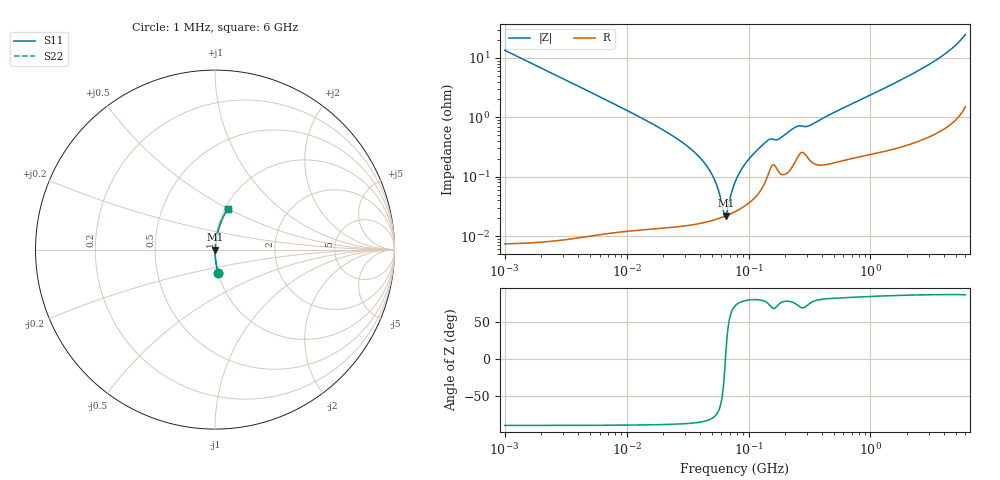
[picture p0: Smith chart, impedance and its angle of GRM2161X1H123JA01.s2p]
!Murata Part Number: GRM2161X1H123JA01
!These Parameters are Measured in Series Mode Connection
!Data Generated on Mar 30, 2021
!  o--ll--o
!Port1  Port2
!  o------o
!Operation Temp=25[degC], DC Bias Voltage=0[V]
!Freq. Start=1000[kHz] Stop=6[GHz] 401[Steps]
# Hz S RI R 50
!Freq.(Hz) S11(Real) S11(Imag) S21(Real) S21(Imag) S12(Real) S12(Imag) S22(Real) S22(Imag)
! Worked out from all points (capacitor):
!   401 points, 1 MHz to 6 GHz, reference 50 ohm
!   read as one part in series: C = 11.8 nF near 1.044 MHz
!   lowest |Z| = 22 mohm at 65.09 MHz (marker M1)
!   series resonance near 64.69 MHz, so ESL is about 510 pH
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1000000  0.018 -0.1327  0.982 0.1327  0.982 0.1327  0.018 -0.1327
4293785  0.00107 -0.0313  0.9989 0.0313  0.9989 0.0313  0.00107 -0.0313
1.843659e7  0.000179 -0.00672  0.9998 0.00672  0.9998 0.00672  0.000179 -0.00672
3.107204e7  0.000161 -0.00334  0.9998 0.00334  0.9998 0.00334  0.000161 -0.00334
4.305766e7  0.000172 -0.00175  0.9998 0.00175  0.9998 0.00175  0.000172 -0.00175
5.236714e7  0.000188 -0.00089  0.9998 0.00089  0.9998 0.00089  0.000188 -0.00089
5.712686e7  0.000198 -0.000522  0.9998 0.000522  0.9998 0.000522  0.000198 -0.000522
6.23192e7  0.000211 -0.000156  0.9998 0.000156  0.9998 0.000156  0.000211 -0.000156
6.508975e7  0.000219 2.63e-05  0.9998 -2.63e-05  0.9998 -2.63e-05  0.000219 2.63e-05
6.798347e7  0.000227 0.000209  0.9998 -0.000209  0.9998 -0.000209  0.000227 0.000209
7.256705e7  0.000241 0.000485  0.9998 -0.000485  0.9998 -0.000485  0.000241 0.000485
7.745967e7  0.000258 0.000764  0.9997 -0.000764  0.9997 -0.000764  0.000258 0.000764
8.450008e7  0.000285 0.00114  0.9997 -0.00114  0.9997 -0.00114  0.000285 0.00114
9.627852e7  0.00034 0.00174  0.9997 -0.00174  0.9997 -0.00174  0.00034 0.00174
1.424119e8  0.001 0.00389  0.999 -0.00389  0.999 -0.00389  0.001 0.00389
1.770109e8  0.00122 0.00412  0.9988 -0.00412  0.9988 -0.00412  0.00122 0.00412
2.506837e8  0.00211 0.00671  0.9979 -0.00671  0.9979 -0.00671  0.00211 0.00671
3.325952e8  0.00178 0.00742  0.9982 -0.00742  0.9982 -0.00742  0.00178 0.00742
1.428092e9  0.00392 0.0337  0.9961 -0.0337  0.9961 -0.0337  0.00392 0.0337
3.5601e9  0.0145 0.0941  0.9855 -0.0941  0.9855 -0.0941  0.0145 0.0941
4.621753e9  0.0272 0.1377  0.9728 -0.1377  0.9728 -0.1377  0.0272 0.1377
6e9  0.0704 0.2273  0.9296 -0.2273  0.9296 -0.2273  0.0704 0.2273
